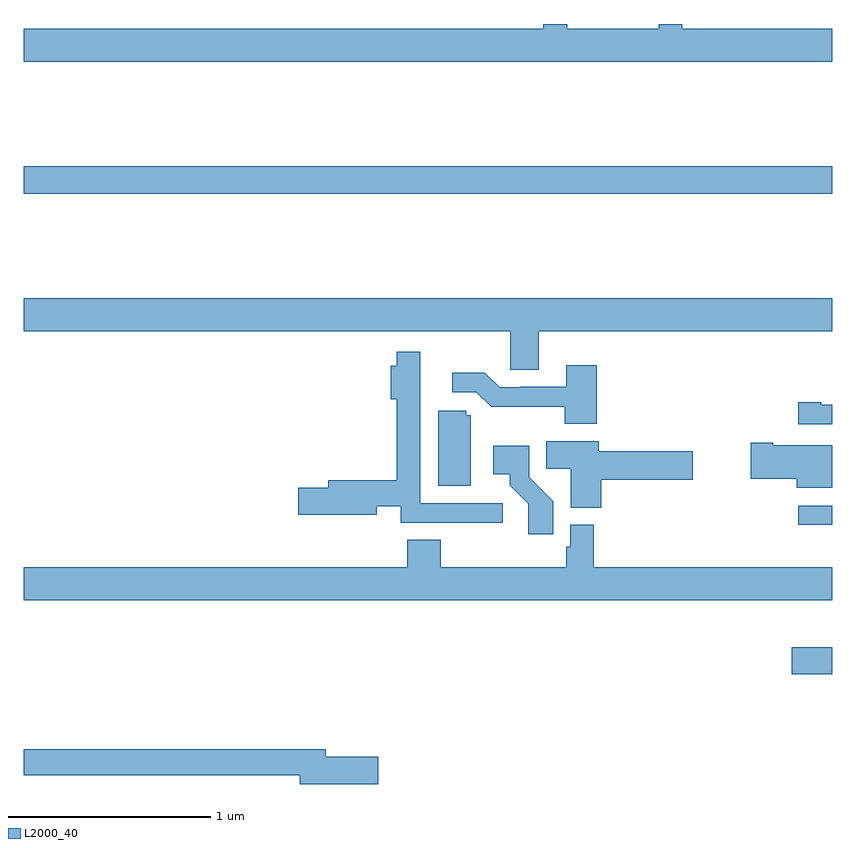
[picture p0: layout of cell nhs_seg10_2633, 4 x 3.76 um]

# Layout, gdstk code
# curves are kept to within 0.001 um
import gdstk
lib = gdstk.Library(unit=1e-6, precision=1e-09)
def R(c, l, rs):  # rectangles x0, y0, x1, y1
    for r in rs: c.add(gdstk.rectangle(r[:2], r[2:], *l))
def P(c, l, *ps):  # polygons
    for p in ps: c.add(gdstk.Polygon(p, *l))
L2000_40 = (2000, 40)

nhs_seg10_2633 = lib.new_cell('nhs_seg10_2633')
R(nhs_seg10_2633, L2000_40, [(256.8,1301.282,257,1301.416), (256.833,1302.021,257,1302.117), (253,1303.66,257,1303.796)])
P(nhs_seg10_2633, L2000_40, [(257,1304.476),(256.259,1304.476),(256.259,1304.5),(256.142,1304.5),(256.142,1304.476),(255.689,1304.476),(255.689,1304.5),(255.571,1304.5),(255.571,1304.476),(253,1304.476),(253,1304.312),(257,1304.312)],
  [(255.547,1302.98),(257,1302.98),(257,1303.144),(253,1303.144),(253,1302.98),(255.408,1302.98),(255.408,1302.79),(255.547,1302.79)],
  [(255.37,1302.129),(254.961,1302.129),(254.961,1302.654),(254.962,1302.654),(254.962,1302.877),(254.845,1302.877),(254.845,1302.808),(254.816,1302.808),(254.816,1302.643),(254.845,1302.643),(254.845,1302.242),(254.507,1302.242),(254.507,1302.206),(254.358,1302.206),(254.358,1302.071),(254.746,1302.071),(254.746,1302.114),(254.865,1302.114),(254.865,1302.033),(255.145,1302.033),(255.145,1302.031),(255.37,1302.031)],
  [(255.836,1302.811),(255.683,1302.811),(255.683,1302.705),(255.454,1302.705),(255.454,1302.702),(255.354,1302.702),(255.281,1302.775),(255.12,1302.775),(255.12,1302.678),(255.24,1302.678),(255.313,1302.605),(255.676,1302.606),(255.676,1302.521),(255.836,1302.521)],
  [(257,1302.615),(256.945,1302.615),(256.945,1302.628),(256.833,1302.628),(256.833,1302.519),(257,1302.519)],
  [(255.211,1302.564),(255.189,1302.564),(255.189,1302.585),(255.05,1302.585),(255.05,1302.216),(255.211,1302.216)],
  [(255.857,1302.244),(256.309,1302.244),(256.309,1302.386),(255.844,1302.386),(255.844,1302.436),(255.586,1302.436),(255.586,1302.298),(255.707,1302.298),(255.707,1302.107),(255.857,1302.107)],
  [(257,1302.415),(256.708,1302.415),(256.708,1302.428),(256.596,1302.428),(256.596,1302.25),(256.826,1302.25),(256.826,1302.206),(257,1302.206)],
  [(255.62,1302.138),(255.501,1302.257),(255.501,1302.412),(255.324,1302.412),(255.324,1302.272),(255.404,1302.272),(255.404,1302.217),(255.495,1302.127),(255.495,1301.976),(255.62,1301.976)],
  [(255.705,1302.022),(255.705,1301.913),(255.685,1301.913),(255.685,1301.812),(255.062,1301.812),(255.062,1301.948),(254.897,1301.948),(254.897,1301.812),(253,1301.812),(253,1301.648),(257,1301.648),(257,1301.812),(255.821,1301.812),(255.821,1302.022)],
  [(254.755,1300.874),(254.494,1300.874),(254.494,1300.91),(253,1300.91),(253,1300.782),(254.366,1300.782),(254.366,1300.739),(254.755,1300.739)])

lib.write_gds('nhs_seg10_2633.gds')
